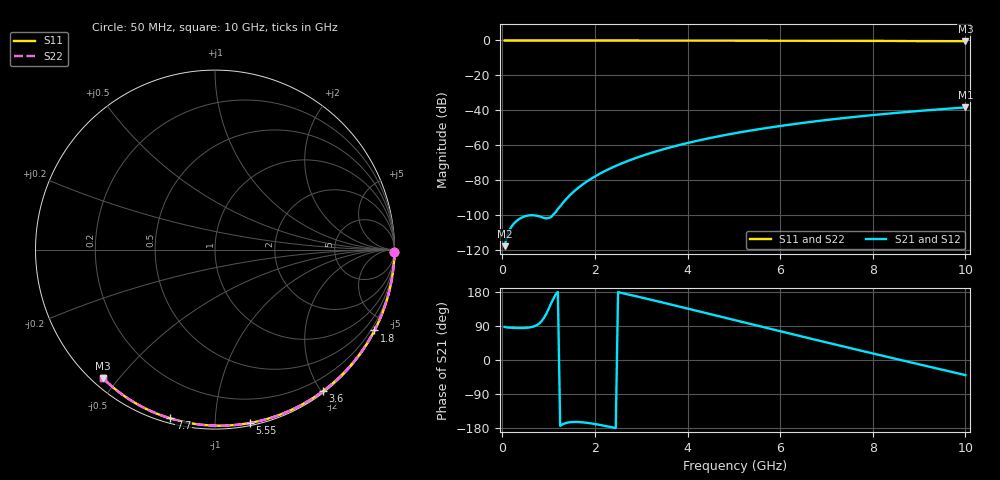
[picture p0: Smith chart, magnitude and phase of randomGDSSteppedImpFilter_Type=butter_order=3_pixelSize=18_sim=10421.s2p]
! freq	dB(S11)	phase(S11)	dB(S12)	phase(S12)
!  dB(S21)	phase(S21)	dB(S22)	phase(S22)
!S-par simulation data
#  GHz  S  DB  R 50
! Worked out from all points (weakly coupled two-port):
!   200 points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, 50 MHz to 10 GHz, reference 50 ohm
!   highest |S21| = -38.45 dB at 10 GHz (marker M1); lowest = -118.1 dB at 50 MHz (marker M2)
!   lowest |S11| = -0.4 dB at 10 GHz (marker M3), VSWR 39.11, Z = 1.54 - j22.7 ohm
!   |S11| at or under -10 dB: nowhere
!   |S22| runs from -0.4 to 0.0 dB; largest |S21 - S12| = 0
!   S11 on the Smith chart (normalised r, x): 50 MHz: open; 1.8 GHz: 0.04, -4.18; 3.6 GHz: 0.02, -2.02; 5.55 GHz: 0.02, -1.22; 7.7 GHz: 0.02, -0.77; 10 GHz: 0.03, -0.45
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0.05  -0.00 -0.8  -118.09 87.4  -118.09 87.4  -0.00 -0.8
0.9  -0.02 -13.6  -101.86 111.4  -101.86 111.4  -0.02 -13.6
1.75  -0.03 -26.2  -82.36 -164.7  -82.36 -164.7  -0.03 -26.2
1.8  -0.03 -26.9  -81.42 -165.4  -81.42 -165.4  -0.03 -26.9
1.85  -0.04 -27.6  -80.53 -166.1  -80.53 -166.1  -0.04 -27.6
1.9  -0.04 -28.4  -79.68 -167.0  -79.68 -167.0  -0.04 -28.4
2.05  -0.04 -30.5  -77.30 -170.0  -77.30 -170.0  -0.04 -30.5
2.25  -0.04 -33.4  -74.50 -174.6  -74.50 -174.6  -0.04 -33.4
2.45  -0.05 -36.3  -72.02 -179.7  -72.02 -179.7  -0.05 -36.3
2.65  -0.05 -39.2  -69.80 174.9  -69.80 174.9  -0.05 -39.2
3  -0.06 -44.2  -66.39 165.1  -66.39 165.1  -0.06 -44.2
3.4  -0.07 -49.8  -63.06 153.5  -63.06 153.5  -0.07 -49.8
3.6  -0.07 -52.6  -61.57 147.6  -61.57 147.6  -0.07 -52.6
4.3  -0.09 -62.1  -57.06 126.8  -57.06 126.8  -0.09 -62.1
5.05  -0.11 -72.1  -53.13 104.3  -53.13 104.3  -0.11 -72.1
5.55  -0.13 -78.5  -50.90 89.3  -50.90 89.3  -0.13 -78.5
6.1  -0.15 -85.5  -48.72 73.0  -48.72 73.0  -0.15 -85.5
6.7  -0.18 -92.9  -46.62 55.2  -46.62 55.2  -0.18 -92.9
7.7  -0.24 -104.9  -43.62 25.9  -43.62 25.9  -0.24 -104.9
8.35  -0.29 -112.5  -41.95 7.2  -41.95 7.2  -0.29 -112.5
9.15  -0.36 -121.6  -40.13 -15.7  -40.13 -15.7  -0.36 -121.6
10  -0.44 -131.2  -38.45 -39.8  -38.45 -39.8  -0.44 -131.2
